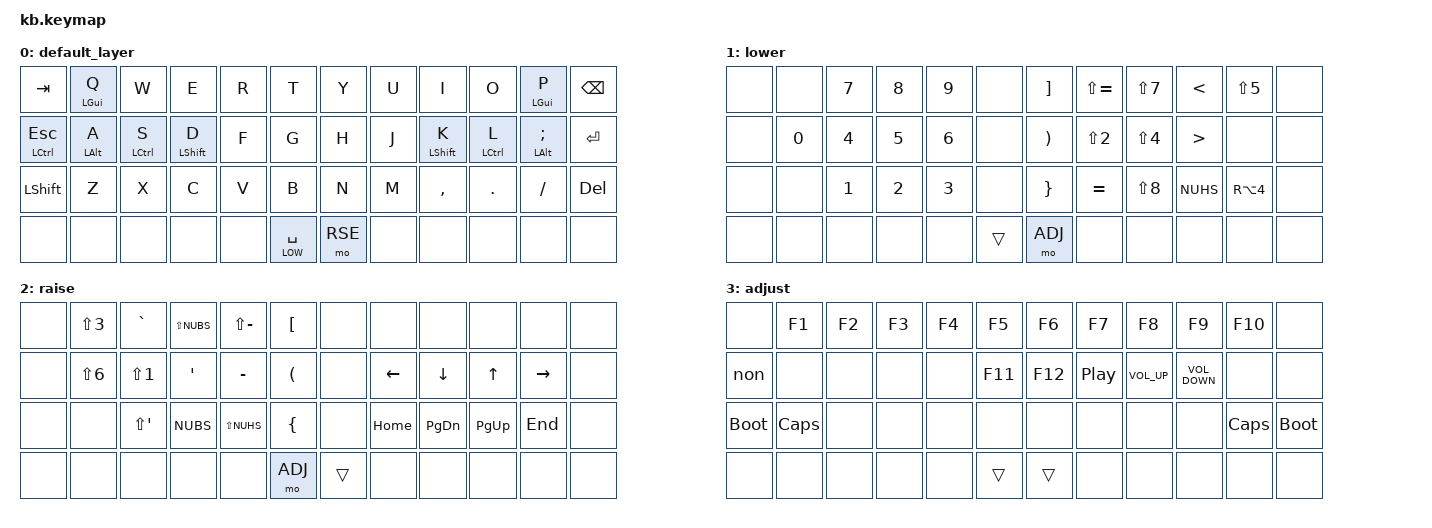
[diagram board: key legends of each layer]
#include <behaviors.dtsi>
#include <dt-bindings/zmk/keys.h>
#include <dt-bindings/zmk/outputs.h>

&mt {
    tapping-term-ms = <180>;
    flavor = "tap-preferred";
};

&lt {
    tapping-term-ms = <180>;
};

&sk {
    release-after = <2000>;
    quick-release;
};

// Layers
#define LOW 1
#define RSE 2
#define ADJ 3

// Symbols
#define _SP         SPACE
#define _SQT        SQT //          ' @
#define _SCN        SEMI //         ; :
#define _COM        COMMA //        , <
#define _DOT        DOT  //         . >
#define _SL         SLASH //        / ?
#define _GBP        LS(N3) //       £
#define _PRC        LS(N5) //       %
#define _EUR        RA(N4) //       €
#define _BTK        GRAVE //        `
#define _QS         LS(SLASH) //    ?
#define _CRT        LS(N6) //       ^
#define _PIP        LS(NUBS) //     |
#define _CN         LS(SEMI) //     :
#define _UND        LS(MINUS) //    _
#define _MIN        MINUS //        -
#define _TLD        LS(NUHS) //     ~
#define _LSB        LBKT //         [
#define _RSB        RBKT //         ]
#define _LCB        LBRC //         {
#define _RCB        RBRC //         }
#define _LPR        LPAR //         (
#define _RPR        RPAR //         )
#define _LAB        LT //           <
#define _RAB        GT //           >
#define _PLS        LS(EQUAL) //    +
#define _EQ         EQUAL //        =
#define _USD        LS(N4) //       $
#define _AMP        LS(N7) //       &
#define _DQT        LS(N2) //       "
#define _AST        LS(N8) //       *
#define _HSH        NUHS //         #
#define _AT         LS(SQT) //      @
#define _EX         LS(N1) //       !
#define _BSL        NUBS //         \

// Media keys
#define _V_P        C_PLAY_PAUSE
#define _V_VD       C_VOLUME_DOWN
#define _V_VU       C_VOLUME_UP

/ {
    keymap {
        compatible = "zmk,keymap";

        default_layer {
            bindings = <
                /*          *           *           *           *           *          |*           *           *           *           *           */
                &kp TAB     &mt LGUI Q  &kp W       &kp E       &kp R       &kp T       &kp Y       &kp U       &kp I       &kp O       &mt LGUI P  &kp BSPC
                &mt LCTRL ESC &mt LALT A  &mt LCTRL S &mt LSHFT D &kp F       &kp G       &kp H       &kp J       &mt LSHFT K &mt LCTRL L &mt LALT SEMI  &kp RET
                &kp LSHFT   &kp Z       &kp X       &kp C       &kp V       &kp B       &kp N       &kp M       &kp COMMA   &kp DOT     &kp SLASH   &kp DEL
                &none       &none       &none       &none       &none       &lt LOW _SP &mo RSE     &none       &none       &none       &none       &none
            >;
        };

        lower {
            bindings = <
                /*          *           *           *           *           *          |*           *           *           *           *           */
                &none       &none       &kp N7      &kp N8      &kp N9      &none       &kp _RSB    &kp _PLS    &kp _AMP    &kp _LAB    &kp _PRC    &none
                &none       &kp N0      &kp N4      &kp N5      &kp N6      &none       &kp _RPR    &kp _DQT    &kp _USD    &kp _RAB    &none       &none
                &none       &none       &kp N1      &kp N2      &kp N3      &none       &kp _RCB    &kp _EQ     &kp _AST    &kp _HSH    &kp _EUR    &none
                &none       &none       &none       &none       &none       &trans      &mo ADJ     &none       &none       &none       &none       &none
            >;
        };

        raise {
            bindings = <
                /*          *           *           *           *           *          |*           *           *           *           *           */
                &none       &kp _GBP    &kp _BTK    &kp _PIP    &kp _UND    &kp _LSB    &none       &none       &none       &none       &none       &none
                &none       &kp _CRT    &kp _EX     &kp _SQT    &kp _MIN    &kp _LPR    &none       &kp LEFT    &kp DOWN    &kp UP      &kp RIGHT   &none
                &none       &none       &kp _AT     &kp _BSL    &kp _TLD    &kp _LCB    &none       &kp HOME    &kp PG_DN   &kp PG_UP   &kp END     &none
                &none       &none       &none       &none       &none       &mo ADJ     &trans      &none       &none       &none       &none       &none
            >;
        };

        adjust {
            bindings = <
                /*          *           *           *           *           *          |*           *           *           *           *           */
                &none       &kp F1      &kp F2      &kp F3      &kp F4      &kp F5      &kp F6      &kp F7      &kp F8      &kp F9      &kp F10     &none
                &non        &none       &none       &none       &none       &kp F11     &kp F12     &kp _V_P    &kp _V_VU   &kp _V_VD   &none       &none
                &bootloader &kp CAPS    &none       &none       &none       &none       &none       &none       &none       &none       &kp CAPS    &bootloader
                &none       &none       &none       &none       &none       &trans      &trans      &none       &none       &none       &none       &none
            >;
        };
    };
};
